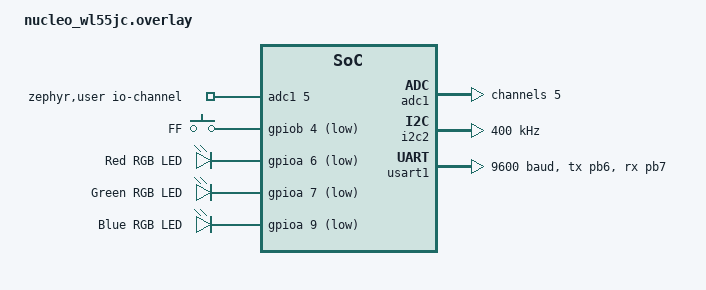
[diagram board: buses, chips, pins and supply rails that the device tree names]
#include <zephyr/dt-bindings/pinctrl/stm32-pinctrl.h>

/ {
    zephyr,user {
		io-channels = <&adc1 5>;
	};

	gpio_keys {
		compatible = "gpio-keys";

		accel_interrup: adc_in1_pb4 {
			label = "FF";
			gpios = <&gpiob 4 (GPIO_ACTIVE_LOW | GPIO_PULL_UP)>;
			zephyr,code = <INPUT_KEY_3>;
		};
	};
    
    rgb_leds {
        compatible = "gpio-leds";

        rgb_red: rgb_0 {
            gpios = <&gpioa 6 GPIO_ACTIVE_LOW>;
            label = "Red RGB LED";
        };
        rgb_green: rgb_1 {
            gpios = <&gpioa 7 GPIO_ACTIVE_LOW>;
            label = "Green RGB LED";
        };
        rgb_blue: rgb_2 {
            gpios = <&gpioa 9 GPIO_ACTIVE_LOW>;
            label = "Blue RGB LED";
        };
    };

    aliases {
        red = &rgb_red;
        green = &rgb_green;
        blue = &rgb_blue;
        led0 = &blue_led_1; 	// This is LED1 as labeled STM32WL55JC board's 
		led1 = &green_led_2; 	// This is LED2 as labeled STM32WL55JC board's 
		led2 = &red_led_3; 	    // This is LED3 as labeled STM32WL55JC board's 
        ff0 = &accel_interrup;
    };


};

&adc1 {
	#address-cells = <1>;
	#size-cells = <0>;

	channel@5 {
		reg = <5>;
		zephyr,gain = "ADC_GAIN_1";
		zephyr,reference = "ADC_REF_INTERNAL";
		zephyr,acquisition-time = <ADC_ACQ_TIME_DEFAULT>;
		zephyr,resolution = <12>;
	};
};

&i2c2 {
    status = "okay";
    clock-frequency = <I2C_BITRATE_FAST>; // 400kHz
};

&usart1 {
	dmas = <&dmamux1 11 18 (STM32_DMA_PERIPH_TX | STM32_DMA_PRIORITY_HIGH)
		&dmamux1 1 17 (STM32_DMA_PERIPH_RX | STM32_DMA_PRIORITY_HIGH)>;
	dma-names = "tx", "rx";
	pinctrl-0 = <&usart1_tx_pb6 &usart1_rx_pb7>;
	pinctrl-names = "default";
	current-speed = <9600>;
	status = "okay";
};

&dma1 {
	status = "okay";
};

&dma2 {
	status = "okay";
};

&dmamux1 {
	status = "okay";
};

&gpiob {
    status = "okay";
};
